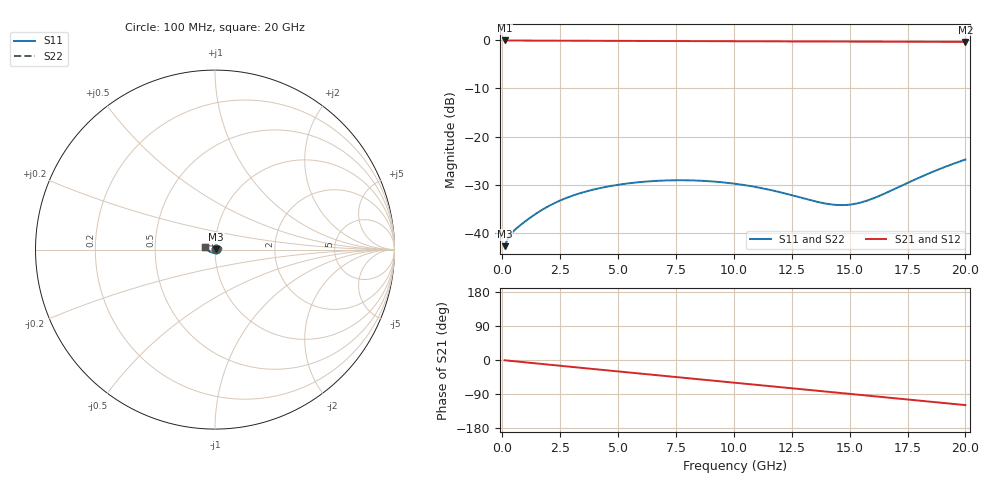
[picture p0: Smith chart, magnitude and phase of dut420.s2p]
! Touchstone file exported from HFSS 2026.1.0
!  File:  C:/ffzhzh/LocalFiles/Ansys_Project_Files/temp_train_TSV_RDL_420_1783095650_53076.aedt
!  Generated:  12:29:17 AM Jul  4, 2026
!  Design:  TSV_RDL
!  Project:  temp_train_TSV_RDL_420_1783095650_53076
! Variables:
!  h_bsmrdl = 5.79um
!  h_ox = 20um
!  h_rdl = 5um
!  h_sub = 51.34um
!  h_tmrdl = 2.71um
!  h_tsv = 51.34um
!  h_via = 3um
!  l_bsmrdl = 319.43um
!  l_sub = 2007.2um
!  l_tmrdl = 126.04um
!  m_sub = 200um
!  pitch = 35.85um
!  r_tsv = 13.39um
!  s_tmrdl = 10um
!  w_bsmrdl = 29.93um
!  w_sub = 500um
!  w_tmrdl = 18.32um
!  x_tsv_center1 = 135.2um
!  x_tsv_center2 = 484.56um
!  x_tsv_center3 = 628.92um
!  x_tsv_center4 = 978.28um
!  x_tsv_center5 = 1122.64um
!  x_tsv_center6 = 1472um
# GHz S MA R 50.000000
! Terminal data exported
! Port[1] = TM_RDL1_1_T1
! Port[2] = TM_RDL5_1_T1
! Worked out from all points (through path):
!   200 points, 100 MHz to 20 GHz, reference 50 ohm
!   highest |S21| = -0.06 dB at 100 MHz (marker M1); lowest = -0.4 dB at 20 GHz (marker M2)
!   group delay of S21, straight-line fit = 16.5 ps
!   lowest |S11| = -42.7 dB at 100 MHz (marker M3), VSWR 1.01, Z = 50.7 + j0.167 ohm
!   |S11| at or under -10 dB: start of sweep to end of sweep
!   |S22| runs from -42.7 to -24.8 dB; largest |S21 - S12| = 7.8e-13
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0.1  0.007302 13.0  0.9929 -0.7  0.9929 -0.7  0.007302 13.0
! Gamma 0 0 0 0
! Port Impedance 50 0 50 0
0.2  0.008329 19.7  0.9922 -1.3  0.9922 -1.3  0.008329 19.7
0.3  0.009237 22.7  0.9916 -1.9  0.9916 -1.9  0.009237 22.7
0.5  0.01056 26.3  0.9909 -3.1  0.9909 -3.1  0.01056 26.3
0.9  0.01271 32.1  0.99 -5.6  0.99 -5.6  0.01271 32.1
1.4  0.01554 36.4  0.989 -8.6  0.989 -8.6  0.01554 36.4
1.9  0.01843 37.9  0.9879 -11.6  0.9879 -11.6  0.01843 37.9
2.4  0.0212 37.6  0.9867 -14.6  0.9867 -14.6  0.0212 37.6
3.5  0.02646 33.9  0.9843 -21.2  0.9843 -21.2  0.02645 33.9
4.2  0.02915 30.5  0.9828 -25.4  0.9828 -25.4  0.02915 30.6
5  0.03163 26.3  0.9813 -30.2  0.9813 -30.2  0.03162 26.3
6.8  0.03486 15.2  0.9782 -40.8  0.9782 -40.8  0.03485 15.2
8.5  0.0349 3.0  0.9757 -50.9  0.9757 -50.9  0.03489 3.0
10.1  0.0323 -11.0  0.9736 -60.4  0.9736 -60.4  0.03227 -10.9
11.6  0.02786 -28.0  0.9717 -69.2  0.9717 -69.2  0.02782 -27.9
13.4  0.02163 -59.2  0.9694 -79.9  0.9694 -79.9  0.02156 -59.1
14.3  0.01967 -82.4  0.9683 -85.2  0.9683 -85.2  0.01958 -82.3
15  0.01967 -103.4  0.9673 -89.4  0.9673 -89.4  0.01958 -103.4
15.7  0.02146 -124.2  0.9663 -93.5  0.9663 -93.5  0.02137 -124.3
16.7  0.02689 -149.1  0.9649 -99.4  0.9649 -99.4  0.02682 -149.2
18.5  0.04224 -178.9  0.9619 -110.1  0.9619 -110.1  0.04219 -179.1
20  0.05782 164.3  0.9591 -119.0  0.9591 -119.0  0.05778 164.1
